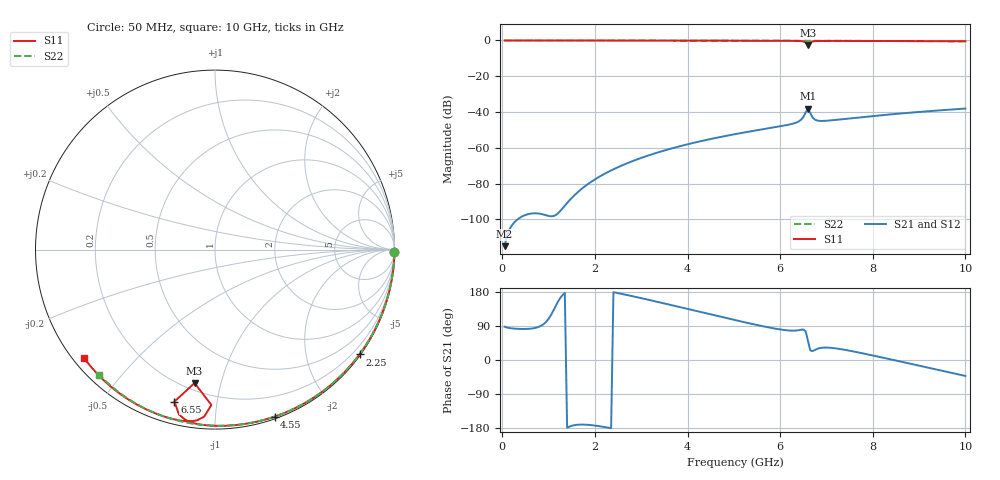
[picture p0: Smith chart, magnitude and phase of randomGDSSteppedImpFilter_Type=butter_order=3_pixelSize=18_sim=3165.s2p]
! freq	dB(S11)	phase(S11)	dB(S12)	phase(S12)
!  dB(S21)	phase(S21)	dB(S22)	phase(S22)
!S-par simulation data
#  GHz  S  DB  R 50
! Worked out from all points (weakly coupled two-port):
!   200 points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, 50 MHz to 10 GHz, reference 50 ohm
!   highest |S21| = -38.01 dB at 6.6 GHz (marker M1); lowest = -114.9 dB at 50 MHz (marker M2)
!   lowest |S11| = -2.5 dB at 6.6 GHz (marker M3), VSWR 7.07, Z = 12.1 - j41.4 ohm
!   |S11| at or under -10 dB: nowhere
!   |S22| runs from -0.4 to 0.0 dB; largest |S21 - S12| = 0
!   S11 on the Smith chart (normalised r, x): 50 MHz: open; 2.25 GHz: 0.03, -3.08; 4.55 GHz: 0.02, -1.42; 6.55 GHz: 0.10, -0.76; 10 GHz: 0.03, -0.36
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0.05  -0.00 -0.8  -114.92 87.7  -114.92 87.7  -0.00 -0.8
0.9  -0.02 -14.6  -97.30 95.4  -97.30 95.4  -0.02 -13.8
1.75  -0.04 -28.1  -82.14 -170.5  -82.14 -170.5  -0.03 -26.5
1.85  -0.04 -29.7  -80.21 -171.1  -80.21 -171.1  -0.04 -28.0
2.25  -0.05 -36.0  -73.91 -177.8  -73.91 -177.8  -0.04 -33.9
2.75  -0.06 -43.7  -68.03 170.0  -68.03 170.0  -0.05 -41.2
3.4  -0.07 -53.5  -62.23 152.0  -62.23 152.0  -0.07 -50.5
3.9  -0.08 -60.9  -58.65 137.7  -58.65 137.7  -0.08 -57.4
4.55  -0.10 -70.4  -54.78 118.9  -54.78 118.9  -0.10 -66.3
5.05  -0.12 -77.5  -52.23 104.6  -52.23 104.6  -0.11 -73.0
6.3  -0.21 -96.2  -46.29 77.4  -46.29 77.4  -0.16 -89.1
6.45  -0.35 -100.1  -44.33 79.8  -44.33 79.8  -0.17 -90.9
6.5  -0.53 -102.3  -42.84 80.6  -42.84 80.6  -0.17 -91.6
6.55  -1.14 -105.0  -40.29 75.9  -40.29 75.9  -0.17 -92.2
6.6  -2.47 -98.7  -38.01 50.3  -38.01 50.3  -0.18 -92.8
6.65  -1.25 -91.3  -40.47 25.5  -40.47 25.5  -0.18 -93.4
6.7  -0.60 -93.7  -43.01 23.4  -43.01 23.4  -0.18 -94.0
6.75  -0.40 -95.8  -44.22 26.5  -44.22 26.5  -0.18 -94.7
6.8  -0.32 -97.4  -44.73 29.3  -44.73 29.3  -0.19 -95.3
6.95  -0.25 -100.6  -44.93 32.7  -44.93 32.7  -0.19 -97.1
8.35  -0.31 -119.9  -41.38 2.7  -41.38 2.7  -0.29 -113.8
10  -0.48 -140.5  -38.04 -42.0  -38.04 -42.0  -0.45 -132.8
